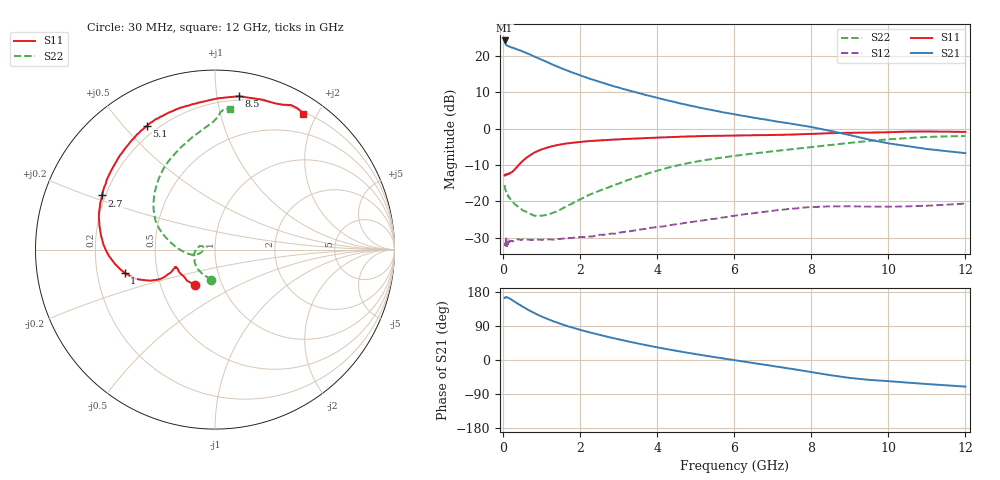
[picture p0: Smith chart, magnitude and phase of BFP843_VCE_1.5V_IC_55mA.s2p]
! Infineon Technologies  Discrete & RF Semiconductors
! BFP843
! VCE =  1.5 V,  IC =  55 mA
! Common Emitter S-Parameters:  Aug 2013
# GHz  S  MA  R  50
!  f  S11  S21  S12  S22
! GHz  MAG  ANG  MAG  ANG  MAG  ANG  MAG  ANG
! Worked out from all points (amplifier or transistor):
!   103 points, 30 MHz to 12 GHz, reference 50 ohm
!   highest |S21| = 24.2 dB at 30 MHz (marker M1)
!   |S21| within 3 dB of that: start of sweep to 494 MHz
!   unconditionally stable (mu >= 1): start of sweep to end of sweep
!   at 400 MHz: K = 1.44, MAG = 22.0 dB, |S12| = -30.4 dB
!   at 3.7 GHz: K = 1.88, MAG = 12.9 dB, |S12| = -27.5 dB
!   at 12 GHz: K = 1.28, MAG = 3.8 dB, |S12| = -20.6 dB
!   S11 on the Smith chart (normalised r, x): 30 MHz: 0.75, -0.31; 1 GHz: 0.32, -0.11; 2.7 GHz: 0.19, +0.22; 5.1 GHz: 0.16, +0.58; 8.5 GHz: 0.17, +1.15; 12 GHz: 0.23, +1.82
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0.03  0.2271 -118.7  16.16 163.8  0.0259 35.0  0.1683 -97.3
0.04  0.233 -131.9  15.21 164.1  0.0252 22.9  0.1541 -115.8
0.05  0.2289 -138.9  14.7 165.8  0.027 11.8  0.1453 -130.7
0.06  0.2343 -145.3  14.35 165.5  0.0247 7.0  0.1412 -137.5
0.07  0.2362 -149.8  14.05 166.0  0.0312 11.2  0.1362 -144.0
0.1  0.234 -153.7  13.66 165.3  0.0263 12.1  0.1229 -159.5
0.35  0.2968 -152.3  12.25 150.0  0.0303 8.9  0.0872 166.3
0.5  0.3603 -152.3  11.41 140.8  0.0302 7.2  0.0756 164.8
0.7  0.4329 -156.9  10.32 129.2  0.0298 7.4  0.0676 167.2
1  0.5196 -165.6  8.754 114.4  0.0298 8.4  0.0638 176.0
1.3  0.5783 -174.4  7.444 102.0  0.0299 10.7  0.0706 -173.3
1.5  0.6077 -179.6  6.739 95.0  0.0308 12.4  0.0786 -168.7
1.8  0.6399 172.9  5.841 85.3  0.0318 15.0  0.0945 -165.4
2.1  0.6637 166.4  5.132 76.6  0.0327 18.2  0.1139 -165.4
2.7  0.6979 154.4  4.042 61.3  0.0358 21.2  0.1541 -172.0
3.4  0.7284 142.0  3.194 45.6  0.04 24.2  0.2117 177.4
4.1  0.7555 131.0  2.553 31.4  0.0453 25.1  0.2743 167.1
5.1  0.7878 118.8  1.931 13.8  0.0543 22.9  0.3594 155.2
6.1  0.804 109.6  1.535 -2.0  0.065 19.2  0.4287 143.0
8.5  0.8648 81.2  0.928 -40.2  0.0858 -2.1  0.5956 109.5
10.5  0.9097 62.3  0.574 -59.7  0.0858 -14.7  0.7405 88.7
12  0.9002 56.9  0.46 -70.2  0.0936 -22.0  0.7906 83.9
